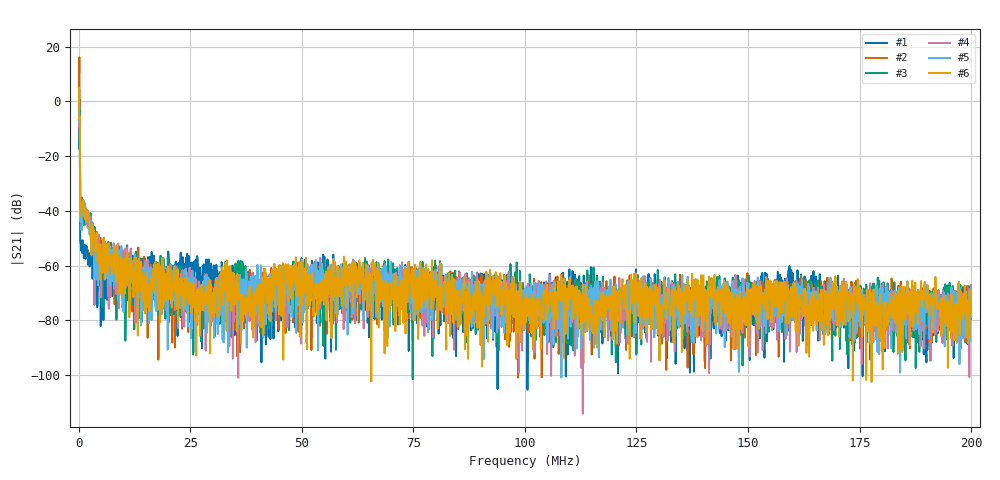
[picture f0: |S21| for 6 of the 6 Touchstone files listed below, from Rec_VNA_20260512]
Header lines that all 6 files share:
! CHANNEL.1
! TR.MEASUREMENT
! CORRECTED.DATA
# GHZ S RI R 50.0
! FREQ.GHZ  S11RE  S11IM  S21RE  S21IM  S12RE  S12IM  S22RE  S22IM
!; PortSelection: Port_12
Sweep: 50 kHz to 200 MHz
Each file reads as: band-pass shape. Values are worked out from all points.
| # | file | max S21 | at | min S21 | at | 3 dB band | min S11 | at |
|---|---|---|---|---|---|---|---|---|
| 1 | Receiver_01.s2p | 0.91 dB | 150 kHz | -105.3 dB | 100.6 MHz | 150 kHz-150 kHz | -34.4 dB | 69.77 MHz |
| 2 | t1t1e4_noisediode.s2p | 16.16 dB | 150 kHz | -100.9 dB | 98.47 MHz | 150 kHz-150 kHz | -16.9 dB | 199.5 MHz |
| 3 | t1t1e5_longopen.s2p | -2.67 dB | 250 kHz | -101.5 dB | 74.87 MHz | 250 kHz-250 kHz | -23.3 dB | 17.85 MHz |
| 4 | t1t1e6_heatedload.s2p | -6.97 dB | 150 kHz | -114.1 dB | 113 MHz | 50 kHz-150 kHz | -22.5 dB | 199.9 MHz |
| 5 | t1t1e8_testsrc.s2p | -6.56 dB | 50 kHz | -100.9 dB | 108.2 MHz | 50 kHz-250 kHz | -19.1 dB | 183.9 MHz |
| 6 | t2t2e5_longshort.s2p | 5.00 dB | 50 kHz | -102.5 dB | 177.7 MHz | 50 kHz-50 kHz | -23.6 dB | 16.35 MHz |
